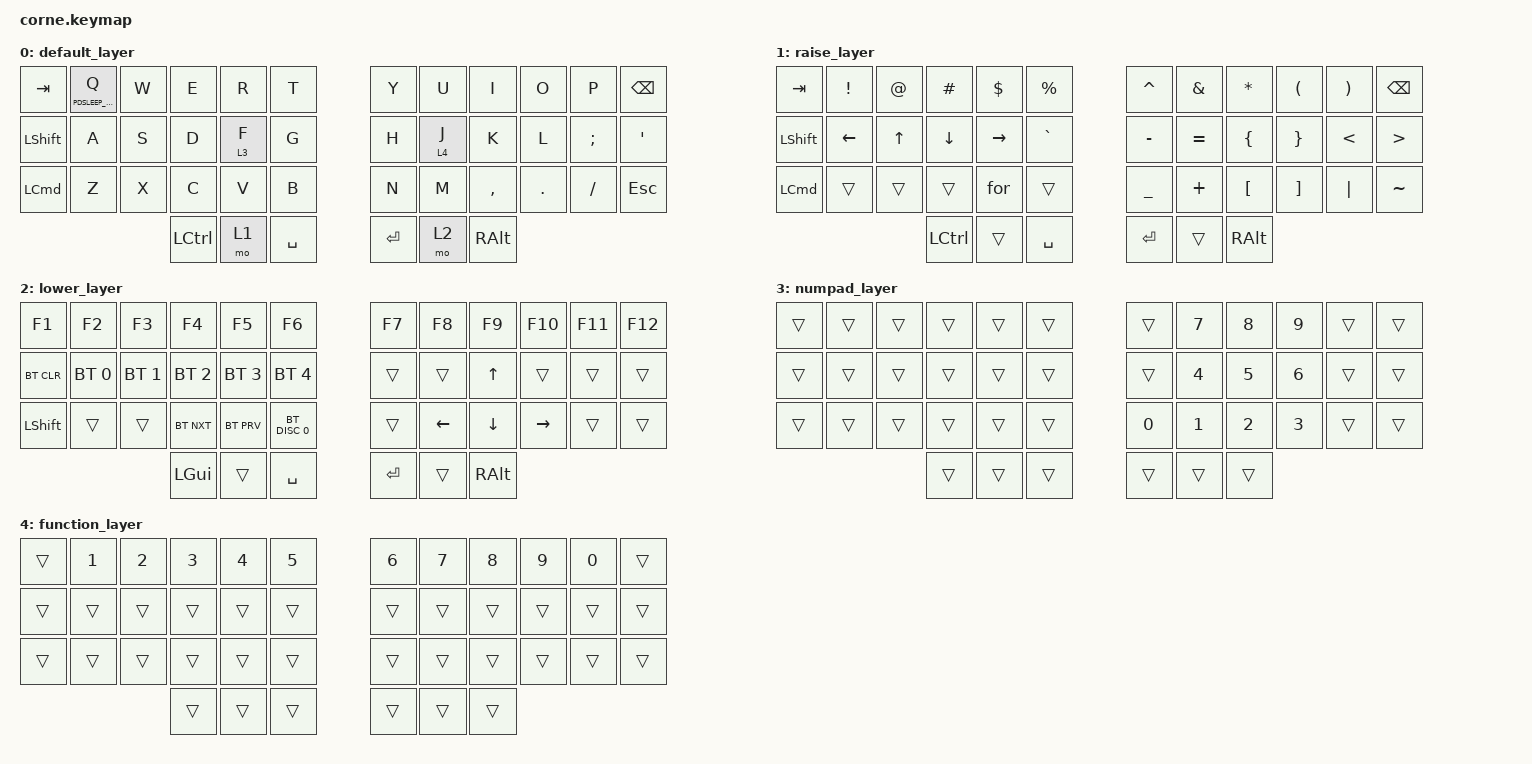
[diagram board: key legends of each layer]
/*
 * Copyright (c) 2020 The ZMK Contributors
 *
 * SPDX-License-Identifier: MIT
 */

#include <behaviors.dtsi>
#include <dt-bindings/zmk/bt.h>
#include <dt-bindings/zmk/keys.h>
#include <dt-bindings/zmk/rgb.h>
#include <dt-bindings/zmk/peripheral_sleep.h>

/ {
    macros {
        for: new_macro {
            compatible = "zmk,behavior-macro";
            #binding-cells = <0>;
            bindings = <&none &kp F &kp O &kp R &kp SPACE &kp LPAR &kp RPAR &kp SPACE &kp LEFT_BRACE &kp RET &kp SPACE &kp SPACE &kp SPACE &kp SPACE &kp RET &kp RBRC>;
            label = "NEW_MACRO";
        };
    };

    behaviors {
        q_psleep: q_psleep {
            compatible = "zmk,behavior-hold-tap";
            label = "Q_PSLEEP";
            #binding-cells = <2>;
            bindings = <&psleep>, <&kp>;
            tapping-term-ms = <3000>;
            quick-tap-ms = <150>;
            flavor = "balanced";
        };
    };

    keymap {
        compatible = "zmk,keymap";

        default_layer {
            // -----------------------------------------------------------------------------------------
            // |  TAB | Q/S |  W  |  E  |  R  |  T  |   |  Y  |  U   |  I  |  O  |  P  | BKSP |
            // | SHFT |  A  |  S  |  D  |  F  |  G  |   |  H  |  J   |  K  |  L  |  ;  |  '   |
            // | CMD  |  Z  |  X  |  C  |  V  |  B  |   |  N  |  M   |  ,  |  .  |  /  | ESC  |
            //                    | CTRL| LWR | SPC |   | ENT | RSE  | ALT |

            bindings = <
&kp TAB           &q_psleep PDSLEEP_TOGGLE Q  &kp W  &kp E             &kp R    &kp T        &kp Y    &kp U    &kp I      &kp O    &kp P     &kp BSPC
&kp LEFT_SHIFT    &kp A  &kp S  &kp D             &lt 3 F  &kp G        &kp H    &lt 4 J  &kp K      &kp L    &kp SEMI  &kp SQT
&kp LEFT_COMMAND  &kp Z  &kp X  &kp C             &kp V    &kp B        &kp N    &kp M    &kp COMMA  &kp DOT  &kp FSLH  &kp ESC
                                &kp LEFT_CONTROL  &mo 1    &kp SPACE    &kp RET  &mo 2    &kp RALT
            >;
        };

        raise_layer {
            // -----------------------------------------------------------------------------------------
            // |  TAB |  !  |  @  |  #  |  $  |  %  |   |  ^  |  &  |  *  |  (  |  )  | BKSP |
            // | SHFT |  ←  |  ↑  |  ↓  |  →  |  `  |   |  -  |  =  |  [  |  ]  |  <  |  >   |
            // | CMD  |     |     |     | FOR |     |   |  _  |  +  |  {  |  }  |  |  |  ~   |
            //                    | CTRL|     | SPC |   | ENT |     | ALT |

            bindings = <
&kp TAB           &kp EXCLAMATION  &kp AT_SIGN   &kp HASH          &kp DOLLAR       &kp PERCENT    &kp CARET  &kp AMPERSAND  &kp ASTERISK      &kp LEFT_PARENTHESIS  &kp RIGHT_PARENTHESIS  &kp BSPC
&kp LEFT_SHIFT    &kp LEFT         &kp UP_ARROW  &kp DOWN_ARROW    &kp RIGHT_ARROW  &kp GRAVE      &kp MINUS  &kp EQUAL      &kp LEFT_BRACE    &kp RIGHT_BRACE       &kp LESS_THAN          &kp GREATER_THAN
&kp LEFT_COMMAND  &trans           &trans        &trans            &for             &trans         &kp UNDER  &kp PLUS       &kp LEFT_BRACKET  &kp RIGHT_BRACKET     &kp PIPE               &kp TILDE
                                                 &kp LEFT_CONTROL  &trans           &kp SPACE      &kp RET    &trans         &kp RALT
            >;
        };

        lower_layer {
            // -----------------------------------------------------------------------------------------
            // | F1  | F2  | F3  | F4  | F5  | F6  |   | F7  | F8  | F9  | F10 | F11 | F12 |
            // |BTCLR| BT1 | BT2 | BT3 | BT4 | BT5 |   |     |     |  ↑  |     |     |     |
            // |SHFT |SLEEP|     | BT+ | BT- |BTDISC|   |     |  ←  |  ↓  |  →  |     |     |
            //                    | GUI |     | SPC |   | ENT |     | ALT |

            bindings = <
&kp F1      &kp F2        &kp F3        &kp F4         &kp F5           &kp F6             &kp F7   &kp F8          &kp F9          &kp F10          &kp F11  &kp F12
&bt BT_CLR  &bt BT_SEL 0  &bt BT_SEL 1  &bt BT_SEL 2   &bt BT_SEL 3     &bt BT_SEL 4       &trans   &trans          &kp UP          &trans           &trans   &trans
&kp LSHFT   &trans &trans       &bt BT_NXT    &bt BT_PRV    &bt BT_DISC 0  &trans   &kp LEFT_ARROW  &kp DOWN_ARROW  &kp RIGHT_ARROW  &trans   &trans
                                        &kp LGUI       &trans           &kp SPACE          &kp RET  &trans          &kp RALT
            >;
        };

        numpad_layer {
            // -----------------------------------------------------------------------------------------
            // |     |     |     |     |     |     |   |  7  |  8  |  9  |     |     |
            // |     |     |     |     |     |     |   |  4  |  5  |  6  |     |     |
            // |     |     |     |     |     |     |   |  1  |  2  |  3  |     |     |
            //                    |     |     |     |   |     |     |     |

            bindings = <
&trans  &trans  &trans  &trans  &trans  &trans    &trans  &kp N7        &kp N8        &kp N9        &trans  &trans
&trans  &trans  &trans  &trans  &trans  &trans    &trans  &kp NUMBER_4  &kp N5        &kp NUMBER_6  &trans  &trans
&trans  &trans  &trans  &trans  &trans  &trans    &kp N0  &kp NUMBER_1  &kp NUMBER_2  &kp NUMBER_3  &trans  &trans
                        &trans  &trans  &trans    &trans  &trans        &trans
            >;
        };

        function_layer {
            // -----------------------------------------------------------------------------------------
            // |     |  1  |  2  |  3  |  4  |  5  |   |  6  |  7  |  8  |  9  |  0  |     |
            // |     |     |     |     |     |     |   |     |     |     |     |     |     |
            // |     |     |     |     |     |     |   |     |     |     |     |     |     |
            //                    |     |     |     |   |     |     |     |

            bindings = <
&trans  &kp NUMBER_1  &kp NUMBER_2  &kp NUMBER_3  &kp NUMBER_4  &kp N5    &kp NUMBER_6  &kp N7  &kp N8  &kp N9  &kp N0  &trans
&trans  &trans        &trans        &trans        &trans        &trans    &trans        &trans  &trans  &trans  &trans  &trans
&trans  &trans        &trans        &trans        &trans        &trans    &trans        &trans  &trans  &trans  &trans  &trans
                                    &trans        &trans        &trans    &trans        &trans  &trans
            >;
        };
    };
};
